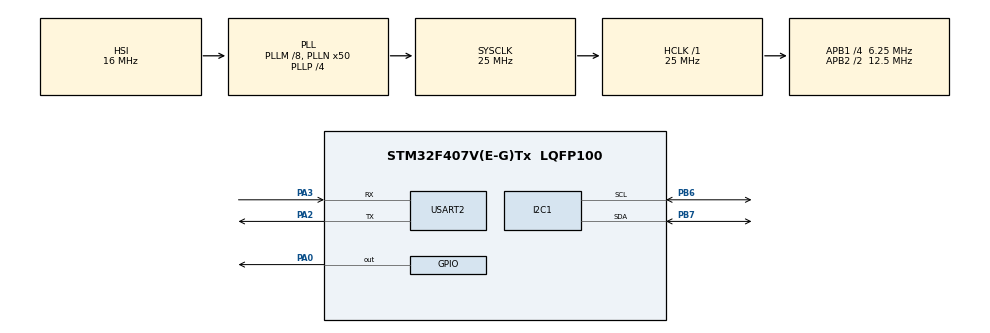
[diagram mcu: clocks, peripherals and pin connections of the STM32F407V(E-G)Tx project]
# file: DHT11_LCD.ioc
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Mcu.Family=STM32F4
Mcu.Name=STM32F407V(E-G)Tx
Mcu.Package=LQFP100
NVIC.I2C1_ER_IRQn=true\:0\:0\:false\:false\:true\:true\:true\:true
NVIC.I2C1_EV_IRQn=true\:0\:0\:false\:false\:true\:true\:true\:true
NVIC.PriorityGroup=NVIC_PRIORITYGROUP_0
PA0-WKUP.Signal=GPIO_Output
PA2.Mode=Asynchronous
PA2.Signal=USART2_TX
PA3.Mode=Asynchronous
PA3.Signal=USART2_RX
PB6.Mode=I2C
PB6.Signal=I2C1_SCL
PB7.Mode=I2C
PB7.Signal=I2C1_SDA
PH0-OSC_IN.Mode=HSE-External-Oscillator
PH0-OSC_IN.Signal=RCC_OSC_IN
PH1-OSC_OUT.Mode=HSE-External-Oscillator
PH1-OSC_OUT.Signal=RCC_OSC_OUT
ProjectManager.HeapSize=0x200
ProjectManager.StackSize=0x400
ProjectManager.TargetToolchain=STM32CubeIDE
RCC.48MHZClocksFreq_Value=14285714.285714285
RCC.AHBFreq_Value=25000000
RCC.APB1CLKDivider=RCC_HCLK_DIV4
RCC.APB1Freq_Value=6250000
RCC.APB1TimFreq_Value=12500000
RCC.APB2CLKDivider=RCC_HCLK_DIV2
RCC.APB2Freq_Value=12500000
RCC.APB2TimFreq_Value=25000000
RCC.CortexFreq_Value=25000000
RCC.HCLKFreq_Value=25000000
RCC.HSE_VALUE=8000000
RCC.HSI_VALUE=16000000
RCC.LSE_VALUE=32768
RCC.PLLM=8
RCC.PLLN=50
RCC.PLLP=RCC_PLLP_DIV4
RCC.PLLQ=7
RCC.SYSCLKFreq_VALUE=25000000
RCC.SYSCLKSource=RCC_SYSCLKSOURCE_PLLCLK
RCC.VCOOutputFreq_Value=100000000
USART2.VirtualMode=VM_ASYNC
board=STM32F407G-DISC1

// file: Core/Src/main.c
/* USER CODE BEGIN Header */
/**
  ******************************************************************************
  * @file           : main.c
  * @brief          : Main program body
  ******************************************************************************
  * @attention
  *
  * Copyright (c) 2025 STMicroelectronics.
  * All rights reserved.
  *
  * This software is licensed under terms that can be found in the LICENSE file
  * in the root directory of this software component.
  * If no LICENSE file comes with this software, it is provided AS-IS.
  *
  ******************************************************************************
  */
/* USER CODE END Header */
#include "main.h"
#include "my_lcd.h"
#include "dht11.h"
#include <stdio.h>
#include <string.h>

I2C_HandleTypeDef hi2c1;

UART_HandleTypeDef huart2;

void SystemClock_Config(void);
static void MX_GPIO_Init(void);
static void MX_USART2_UART_Init(void);
static void MX_I2C1_Init(void);

int main(void)
{

  /* USER CODE BEGIN 1 */
uint8_t temp;
uint8_t hum;
  /* USER CODE END 1 */

  /* MCU Configuration--------------------------------------------------------*/

  /* Reset of all peripherals, Initializes the Flash interface and the Systick. */
  HAL_Init();

  /* Configure the system clock */
  SystemClock_Config();

  /* Initialize all configured peripherals */
  MX_GPIO_Init();
  MX_USART2_UART_Init();
  MX_I2C1_Init();
  /* USER CODE BEGIN 2 */
  if (!lcd16x2_i2c_init(&hi2c1))
    {
        // LCD not detected
        while(1);
     }

  /* USER CODE END 2 */

  /* Infinite loop */
  while (1)
  {

    /* USER CODE BEGIN 3 */
	  char T[32];
	  char H[32];
	  lcd16x2_i2c_clear();
	  DHT11_Read(&temp, &hum);
	  sprintf(T,"%d",temp);
	  sprintf(H,"%d",hum);
	  lcd16x2_i2c_setCursor(0,0);
	// HAL_UART_Transmit(&huart2, (uint8_t*)T, strlen(T),HAL_MAX_DELAY);
	 //HAL_UART_Transmit(&huart2, (uint8_t*)H, strlen(H),HAL_MAX_DELAY);
	 // lcd16x2_i2c_setCursor(0,0);
	  //lcd16x2_i2c_printf("Temp");
	  lcd16x2_i2c_printf(T);
	  lcd16x2_i2c_setCursor(1,0);
	  //lcd16x2_i2c_printf("Hum");
	   lcd16x2_i2c_printf(H);
	  HAL_Delay(2000);
  }
  /* USER CODE END 3 */
}

void SystemClock_Config(void)
{
  RCC_OscInitTypeDef RCC_OscInitStruct = {0};
  RCC_ClkInitTypeDef RCC_ClkInitStruct = {0};

  /** Configure the main internal regulator output voltage
  */
  __HAL_RCC_PWR_CLK_ENABLE();
  __HAL_PWR_VOLTAGESCALING_CONFIG(PWR_REGULATOR_VOLTAGE_SCALE1);

  /** Initializes the RCC Oscillators according to the specified parameters
  * in the RCC_OscInitTypeDef structure.
  */
  RCC_OscInitStruct.OscillatorType = RCC_OSCILLATORTYPE_HSI;
  RCC_OscInitStruct.HSIState = RCC_HSI_ON;
  RCC_OscInitStruct.HSICalibrationValue = RCC_HSICALIBRATION_DEFAULT;
  RCC_OscInitStruct.PLL.PLLState = RCC_PLL_ON;
  RCC_OscInitStruct.PLL.PLLSource = RCC_PLLSOURCE_HSI;
  RCC_OscInitStruct.PLL.PLLM = 8;
  RCC_OscInitStruct.PLL.PLLN = 50;
  RCC_OscInitStruct.PLL.PLLP = RCC_PLLP_DIV4;
  RCC_OscInitStruct.PLL.PLLQ = 7;
  if (HAL_RCC_OscConfig(&RCC_OscInitStruct) != HAL_OK)
  {
    Error_Handler();
  }

  /** Initializes the CPU, AHB and APB buses clocks
  */
  RCC_ClkInitStruct.ClockType = RCC_CLOCKTYPE_HCLK|RCC_CLOCKTYPE_SYSCLK
                              |RCC_CLOCKTYPE_PCLK1|RCC_CLOCKTYPE_PCLK2;
  RCC_ClkInitStruct.SYSCLKSource = RCC_SYSCLKSOURCE_PLLCLK;
  RCC_ClkInitStruct.AHBCLKDivider = RCC_SYSCLK_DIV1;
  RCC_ClkInitStruct.APB1CLKDivider = RCC_HCLK_DIV4;
  RCC_ClkInitStruct.APB2CLKDivider = RCC_HCLK_DIV2;

  if (HAL_RCC_ClockConfig(&RCC_ClkInitStruct, FLASH_LATENCY_0) != HAL_OK)
  {
    Error_Handler();
  }
}

static void MX_I2C1_Init(void)
{

  hi2c1.Instance = I2C1;
  hi2c1.Init.ClockSpeed = 100000;
  hi2c1.Init.DutyCycle = I2C_DUTYCYCLE_2;
  hi2c1.Init.OwnAddress1 = 0;
  hi2c1.Init.AddressingMode = I2C_ADDRESSINGMODE_7BIT;
  hi2c1.Init.DualAddressMode = I2C_DUALADDRESS_DISABLE;
  hi2c1.Init.OwnAddress2 = 0;
  hi2c1.Init.GeneralCallMode = I2C_GENERALCALL_DISABLE;
  hi2c1.Init.NoStretchMode = I2C_NOSTRETCH_DISABLE;
  if (HAL_I2C_Init(&hi2c1) != HAL_OK)
  {
    Error_Handler();
  }

}

static void MX_USART2_UART_Init(void)
{

  huart2.Instance = USART2;
  huart2.Init.BaudRate = 9600;
  huart2.Init.WordLength = UART_WORDLENGTH_8B;
  huart2.Init.StopBits = UART_STOPBITS_1;
  huart2.Init.Parity = UART_PARITY_NONE;
  huart2.Init.Mode = UART_MODE_TX_RX;
  huart2.Init.HwFlowCtl = UART_HWCONTROL_NONE;
  huart2.Init.OverSampling = UART_OVERSAMPLING_16;
  if (HAL_UART_Init(&huart2) != HAL_OK)
  {
    Error_Handler();
  }

}

static void MX_GPIO_Init(void)
{
  GPIO_InitTypeDef GPIO_InitStruct = {0};

  /* GPIO Ports Clock Enable */
  __HAL_RCC_GPIOH_CLK_ENABLE();
  __HAL_RCC_GPIOA_CLK_ENABLE();
  __HAL_RCC_GPIOB_CLK_ENABLE();

  /*Configure GPIO pin Output Level */
  HAL_GPIO_WritePin(GPIOA, GPIO_PIN_0, GPIO_PIN_RESET);

  /*Configure GPIO pin : PA0 */
  GPIO_InitStruct.Pin = GPIO_PIN_0;
  GPIO_InitStruct.Mode = GPIO_MODE_OUTPUT_PP;
  GPIO_InitStruct.Pull = GPIO_NOPULL;
  GPIO_InitStruct.Speed = GPIO_SPEED_FREQ_LOW;
  HAL_GPIO_Init(GPIOA, &GPIO_InitStruct);

}

void Error_Handler(void)
{
  __disable_irq();
  while (1)
  {
  }
}
